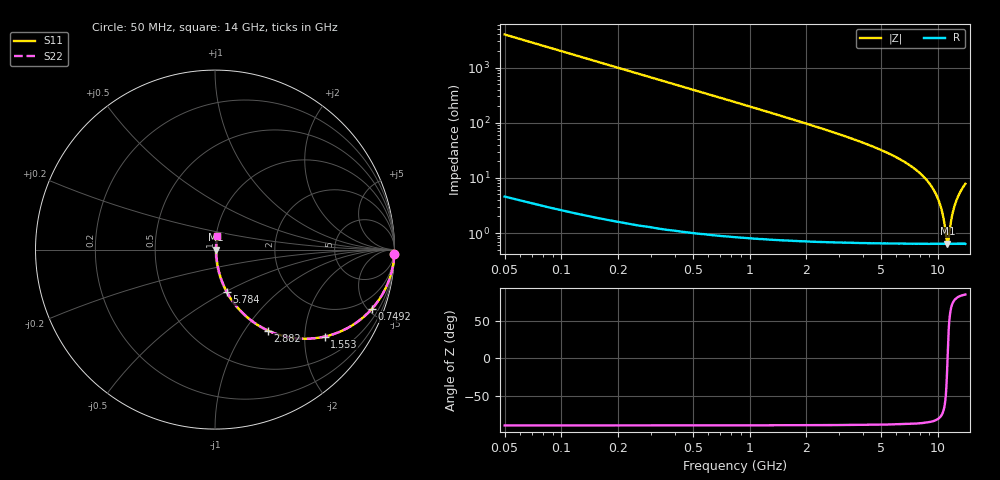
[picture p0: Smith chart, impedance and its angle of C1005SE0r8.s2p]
!	AVX	Thin	Film	Operation
!	Date:	March 2012
!	Description: Ultra-Miniature 01005 Size ACCU - P® Thin Film RF / Microwave Capacitor
!	Part Number:  C005YK0R8ABSTR
!	Serial	Measurements
#	MHz	S	db	R	50
!	S11	S21	S12	S22
!	dB	Phase	dB	Phase	dB	Phase	dB	Phase
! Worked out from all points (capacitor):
!   400 points, 50 MHz to 14 GHz, reference 50 ohm
!   read as one part in series: C = 800 fF near 119.9 MHz
!   lowest |Z| = 638 mohm at 11.24 GHz (marker M1)
!   series resonance near 11.25 GHz, so ESL is about 250 pH
!   S11 on the Smith chart (normalised r, x): 50 MHz: 1, -80; 749.2 MHz: 1.02, -5.29; 1.553 GHz: 1.01, -2.51; 2.882 GHz: 1.01, -1.29; 5.784 GHz: 1.01, -0.51; 14 GHz: 1.01, +0.16
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50  -0.00 -1.4  -32.00 88.5  -32.00 88.5  -0.00 -1.4
84.962  -0.01 -2.4  -27.40 87.5  -27.40 87.5  -0.01 -2.4
119.925  -0.02 -3.5  -24.41 86.5  -24.41 86.5  -0.02 -3.5
259.774  -0.07 -7.4  -17.75 82.5  -17.75 82.5  -0.07 -7.4
469.549  -0.24 -13.3  -12.77 76.6  -12.77 76.6  -0.24 -13.3
749.248  -0.59 -20.7  -9.03 69.1  -9.03 69.1  -0.59 -20.7
1553.383  -2.16 -38.4  -4.14 51.3  -4.14 51.3  -2.16 -38.4
2392.481  -4.16 -51.2  -2.16 38.3  -2.16 38.3  -4.16 -51.2
2881.955  -5.36 -56.8  -1.55 32.6  -1.55 32.6  -5.36 -56.8
4700  -9.68 -69.8  -0.55 19.1  -0.55 19.1  -9.68 -69.8
5783.835  -12.25 -74.4  -0.32 14.1  -0.32 14.1  -12.25 -74.4
7042.481  -15.47 -78.2  -0.18 9.7  -0.18 9.7  -15.47 -78.2
9350  -23.66 -80.7  -0.07 3.7  -0.07 3.7  -23.66 -80.7
9979.323  -27.38 -79.1  -0.06 2.4  -0.06 2.4  -27.38 -79.1
10468.8  -31.64 -74.6  -0.06 1.5  -0.06 1.5  -31.64 -74.6
10783.46  -35.76 -66.3  -0.06 0.9  -0.06 0.9  -35.76 -66.3
11237.97  -43.94 -4.5  -0.06 0.0  -0.06 0.0  -43.94 -4.5
11342.86  -43.21 23.4  -0.06 -0.2  -0.06 -0.2  -43.21 23.4
11692.48  -36.57 64.0  -0.06 -0.8  -0.06 -0.8  -36.57 64.0
12042.1  -32.17 73.7  -0.06 -1.4  -0.06 -1.4  -32.17 73.7
12531.58  -28.32 78.3  -0.06 -2.2  -0.06 -2.2  -28.32 78.3
14000  -22.23 80.9  -0.08 -4.4  -0.08 -4.4  -22.23 80.9
